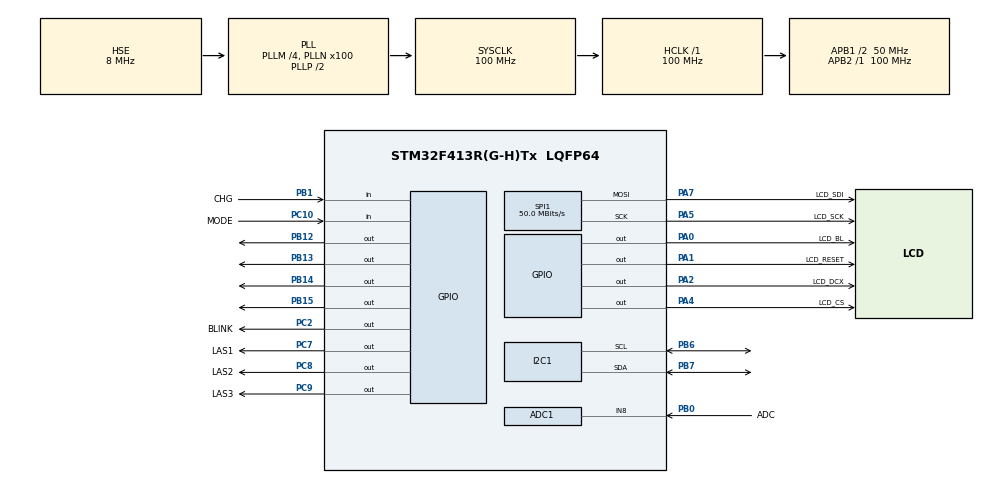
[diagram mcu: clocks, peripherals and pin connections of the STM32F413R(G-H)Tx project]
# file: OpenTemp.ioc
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ADC1.Channel-1\#ChannelRegularConversion=ADC_CHANNEL_8
ADC1.NbrOfConversion=1
ADC1.NbrOfConversionFlag=1
ADC1.Rank-1\#ChannelRegularConversion=1
ADC1.SamplingTime-1\#ChannelRegularConversion=ADC_SAMPLETIME_3CYCLES
ADC1.master=1
Dma.I2C1_RX.2.Direction=DMA_PERIPH_TO_MEMORY
Dma.I2C1_RX.2.FIFOMode=DMA_FIFOMODE_DISABLE
Dma.I2C1_RX.2.Instance=DMA1_Stream0
Dma.I2C1_RX.2.MemDataAlignment=DMA_MDATAALIGN_BYTE
Dma.I2C1_RX.2.MemInc=DMA_MINC_ENABLE
Dma.I2C1_RX.2.Mode=DMA_NORMAL
Dma.I2C1_RX.2.PeriphDataAlignment=DMA_PDATAALIGN_BYTE
Dma.I2C1_RX.2.PeriphInc=DMA_PINC_DISABLE
Dma.I2C1_RX.2.Priority=DMA_PRIORITY_LOW
Dma.I2C1_TX.1.Direction=DMA_MEMORY_TO_PERIPH
Dma.I2C1_TX.1.FIFOMode=DMA_FIFOMODE_DISABLE
Dma.I2C1_TX.1.Instance=DMA1_Stream1
Dma.I2C1_TX.1.MemDataAlignment=DMA_MDATAALIGN_BYTE
Dma.I2C1_TX.1.MemInc=DMA_MINC_ENABLE
Dma.I2C1_TX.1.Mode=DMA_NORMAL
Dma.I2C1_TX.1.PeriphDataAlignment=DMA_PDATAALIGN_BYTE
Dma.I2C1_TX.1.PeriphInc=DMA_PINC_DISABLE
Dma.I2C1_TX.1.Priority=DMA_PRIORITY_LOW
Dma.Request0=SPI1_TX
Dma.Request1=I2C1_TX
Dma.Request2=I2C1_RX
Dma.SPI1_TX.0.Direction=DMA_MEMORY_TO_PERIPH
Dma.SPI1_TX.0.FIFOMode=DMA_FIFOMODE_DISABLE
Dma.SPI1_TX.0.Instance=DMA2_Stream2
Dma.SPI1_TX.0.MemDataAlignment=DMA_MDATAALIGN_HALFWORD
Dma.SPI1_TX.0.MemInc=DMA_MINC_ENABLE
Dma.SPI1_TX.0.Mode=DMA_NORMAL
Dma.SPI1_TX.0.PeriphDataAlignment=DMA_PDATAALIGN_HALFWORD
Dma.SPI1_TX.0.PeriphInc=DMA_PINC_DISABLE
Dma.SPI1_TX.0.Priority=DMA_PRIORITY_MEDIUM
FREERTOS.Tasks01=defaultTask,0,128,StartDefaultTask,Default,NULL,Dynamic,NULL,NULL
FREERTOS.configUSE_NEWLIB_REENTRANT=1
I2C1.I2C_Mode=I2C_Standard
Mcu.Family=STM32F4
Mcu.Name=STM32F413R(G-H)Tx
Mcu.Package=LQFP64
NVIC.DMA1_Stream0_IRQn=true\:5\:0\:false\:false\:true\:true\:false\:true\:true
NVIC.DMA1_Stream1_IRQn=true\:5\:0\:false\:false\:true\:true\:false\:true\:true
NVIC.DMA2_Stream2_IRQn=true\:5\:0\:false\:false\:true\:true\:false\:true\:true
NVIC.PriorityGroup=NVIC_PRIORITYGROUP_4
NVIC.SPI1_IRQn=true\:5\:0\:false\:false\:true\:true\:true\:true\:true
NVIC.TIM5_IRQn=true\:15\:0\:false\:false\:true\:false\:false\:true\:true
NVIC.TimeBase=TIM5_IRQn
NVIC.TimeBaseIP=TIM5
PA0.GPIO_Label=LCD_BL
PA0.PinState=GPIO_PIN_SET
PA0.Signal=GPIO_Output
PA1.GPIO_Label=LCD_RESET
PA1.GPIO_PuPd=GPIO_PULLUP
PA1.PinState=GPIO_PIN_SET
PA1.Signal=GPIO_Output
PA13.Mode=Trace_Asynchronous_SW
PA13.Signal=SYS_JTMS-SWDIO
PA14.Mode=Trace_Asynchronous_SW
PA14.Signal=SYS_JTCK-SWCLK
PA2.GPIO_Label=LCD_DCX
PA2.GPIO_Speed=GPIO_SPEED_FREQ_VERY_HIGH
PA2.PinState=GPIO_PIN_SET
PA2.Signal=GPIO_Output
PA4.GPIO_Label=LCD_CS
PA4.GPIO_Speed=GPIO_SPEED_FREQ_VERY_HIGH
PA4.Signal=GPIO_Output
PA5.GPIO_Label=LCD_SCK
PA5.GPIO_PuPd=GPIO_PULLDOWN
PA5.Mode=TX_Only_Simplex_Unidirect_Master
PA5.Signal=SPI1_SCK
PA6.Signal=SPI1_MISO
PA7.GPIO_Label=LCD_SDI
PA7.GPIO_PuPd=GPIO_PULLDOWN
PA7.Mode=TX_Only_Simplex_Unidirect_Master
PA7.Signal=SPI1_MOSI
PB0.GPIO_Label=ADC
PB0.Signal=ADCx_IN8
PB1.GPIO_Label=CHG
PB1.GPIO_PuPd=GPIO_PULLUP
PB1.Signal=GPIO_Input
PB12.Signal=GPIO_Output
PB13.Signal=GPIO_Output
PB14.Signal=GPIO_Output
PB15.Signal=GPIO_Output
PB3.Mode=Trace_Asynchronous_SW
PB3.Signal=SYS_JTDO-SWO
PB6.Mode=I2C
PB6.Signal=I2C1_SCL
PB7.Mode=I2C
PB7.Signal=I2C1_SDA
PC10.GPIO_Label=MODE
PC10.Signal=GPIO_Input
PC2.GPIO_Label=BLINK
PC2.Signal=GPIO_Output
PC7.GPIO_Label=LAS1
PC7.PinState=GPIO_PIN_RESET
PC7.Signal=GPIO_Output
PC8.GPIO_Label=LAS2
PC8.PinState=GPIO_PIN_RESET
PC8.Signal=GPIO_Output
PC9.GPIO_Label=LAS3
PC9.Signal=GPIO_Output
PH0\ -\ OSC_IN.Mode=HSE-External-Oscillator
PH0\ -\ OSC_IN.Signal=RCC_OSC_IN
PH1\ -\ OSC_OUT.Mode=HSE-External-Oscillator
PH1\ -\ OSC_OUT.Signal=RCC_OSC_OUT
ProjectManager.HeapSize=0x200
ProjectManager.StackSize=0x400
ProjectManager.TargetToolchain=STM32CubeIDE
RCC.AHBFreq_Value=100000000
RCC.APB1CLKDivider=RCC_HCLK_DIV2
RCC.APB1Freq_Value=50000000
RCC.APB1TimFreq_Value=100000000
RCC.APB2Freq_Value=100000000
RCC.APB2TimFreq_Value=100000000
RCC.CortexFreq_Value=100000000
RCC.HCLKFreq_Value=100000000
RCC.HSE_VALUE=8000000
RCC.PLLM=4
RCC.PLLN=100
RCC.PLLQ=3
RCC.PLLSourceVirtual=RCC_PLLSOURCE_HSE
RCC.SYSCLKFreq_VALUE=100000000
RCC.SYSCLKSource=RCC_SYSCLKSOURCE_PLLCLK
RCC.USBFreq_Value=66666666.666666664
RCC.VCOOutputFreq_Value=200000000
SH.ADCx_IN8.0=ADC1_IN8,IN8
SPI1.BaudRatePrescaler=SPI_BAUDRATEPRESCALER_2
SPI1.CalculateBaudRate=50.0 MBits/s
SPI1.DataSize=SPI_DATASIZE_8BIT
SPI1.Direction=SPI_DIRECTION_2LINES
SPI1.Mode=SPI_MODE_MASTER
SPI1.VirtualType=VM_MASTER
VP_FREERTOS_VS_CMSIS_V1.Mode=CMSIS_V1
VP_SYS_VS_tim5.Mode=TIM5
board=custom

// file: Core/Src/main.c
/* USER CODE BEGIN Header */
/**
  ******************************************************************************
  * @file           : main.c
  * @brief          : Main program body
  ******************************************************************************
  * @attention
  *
  * Copyright (c) 2024 STMicroelectronics.
  * All rights reserved.
  *
  * This software is licensed under terms that can be found in the LICENSE file
  * in the root directory of this software component.
  * If no LICENSE file comes with this software, it is provided AS-IS.
  *
  ******************************************************************************
  */
/* USER CODE END Header */
#include "main.h"
#include "cmsis_os.h"

/* USER CODE BEGIN Includes */
#include "lvgl.h"
#include "./src/drivers/display/st7789/lv_st7789.h"
#include "stdio.h"
#include "MLX90640_API.h"
#include "MLX90640_I2C_Driver.h"
#include "Math.h"
#include <string.h>

/* USER CODE END Includes */

/* USER CODE BEGIN PD */
#define LCD_H_RES 170
#define LCD_W_RES 320

#define MLX_H_RES 168
#define MLX_W_RES 224

#define BUS_SPI1_POLL_TIMEOUT 0x1000U

#define TA_SHIFT 8
#define MLX90640_ADDR 0x33 // Default I2C address of MLX90640
#define MLX90640_REFRESH_RATE 0x02 // 0x02 is 2Hz
//#define MLX90640_RESOLUTION_19 0x03 // 19 bit resolution

// For a 10x10 canvas, with 2 bytes per pixel (assuming RGB565 format)
#define MLX_WIDTH 32
#define MLX_HEIGHT 24
#define BYTES_PER_PIXEL 2  // Assuming 16-bit color (RGB565)MAX_TEMP

/* USER CODE END PD */

ADC_HandleTypeDef hadc1;

I2C_HandleTypeDef hi2c1;
DMA_HandleTypeDef hdma_i2c1_tx;
DMA_HandleTypeDef hdma_i2c1_rx;

SPI_HandleTypeDef hspi1;
DMA_HandleTypeDef hdma_spi1_tx;

osThreadId defaultTaskHandle;
/* USER CODE BEGIN PV */
osThreadId LvglTaskHandle;
osThreadId MLXTaskHandle;
osThreadId ADCTaskHandle;

lv_display_t *lcd_disp;
volatile int lcd_bus_busy = 0;

// Buffer to store frame data

float emissivity = 0.95;
float tr;
static uint16_t eeMLX90640[832];
static uint16_t mlx90640Frame[834];
paramsMLX90640 mlx90640;
static float mlx90640To[768];
int status;

float T_max, T_min;

float batteryVoltage;

uint8_t thermal_data_arr[MLX_H_RES * MLX_W_RES * 2];  // For 240x320 with 2 bytes per pixel (RGB565)

// Image descriptor
static lv_img_dsc_t therm_img_dsc = {
    .header.w = MLX_W_RES,   // Updated to 240 (width)
    .header.h = MLX_H_RES,   // Updated to 320 (height)
    .data_size = MLX_H_RES * MLX_W_RES * 2,  // 240 * 320 * 2
    .header.cf = LV_COLOR_FORMAT_NATIVE,    // RGB565 format
    .data = thermal_data_arr,
};
/* USER CODE END PV */

void SystemClock_Config(void);
static void MX_GPIO_Init(void);
static void MX_DMA_Init(void);
static void MX_SPI1_Init(void);
static void MX_I2C1_Init(void);
static void MX_ADC1_Init(void);
void StartDefaultTask(void const * argument);

/* USER CODE BEGIN PFP */
void ui_init(lv_display_t *disp);
void LVGL_Task(void const *argument);
void MLX90640_Task(void const *argument);
void ADC_Task(void const * argument);
/* USER CODE END PFP */

/* USER CODE BEGIN 0 */

int _write(int file, char *ptr, int len) // enable printf() debugging
{
  (void)file;
  int DataIdx;

  for (DataIdx = 0; DataIdx < len; DataIdx++)
  {
    //__io_putchar(*ptr++);
	  ITM_SendChar(*ptr++);
  }
  return len;
}

/* USER CODE END 0 */

int main(void)
{

  /* MCU Configuration--------------------------------------------------------*/

  /* Reset of all peripherals, Initializes the Flash interface and the Systick. */
  HAL_Init();

  /* Configure the system clock */
  SystemClock_Config();

  /* Initialize all configured peripherals */
  MX_GPIO_Init();
  MX_DMA_Init();
  MX_SPI1_Init();
  MX_I2C1_Init();
  MX_ADC1_Init();
  /* USER CODE BEGIN 2 */

  // Turn all lasers on
  HAL_GPIO_WritePin(GPIOC, LAS1_Pin, GPIO_PIN_SET); // ON
  HAL_GPIO_WritePin(GPIOC, LAS2_Pin, GPIO_PIN_SET);
  HAL_GPIO_WritePin(GPIOC, LAS3_Pin, GPIO_PIN_SET);
  //HAL_GPIO_WritePin(GPIOC, LAS1_Pin, GPIO_PIN_RESET); // OFF

  /* USER CODE END 2 */

  /* Create the thread(s) */
  /* definition and creation of defaultTask */
  osThreadDef(defaultTask, StartDefaultTask, osPriorityNormal, 0, 128);
  defaultTaskHandle = osThreadCreate(osThread(defaultTask), NULL);

  /* USER CODE BEGIN RTOS_THREADS */
  osThreadDef(LvglTask, LVGL_Task, osPriorityNormal, 0, 1024);
  LvglTaskHandle = osThreadCreate(osThread(LvglTask), NULL);

  osThreadDef(MLXTask, MLX90640_Task, osPriorityNormal, 0, 2048);
  MLXTaskHandle = osThreadCreate(osThread(MLXTask), NULL);

  osThreadDef(ADCTask, ADC_Task, osPriorityNormal, 0, 256);
  ADCTaskHandle = osThreadCreate(osThread(ADCTask), NULL);
  /* USER CODE END RTOS_THREADS */

  /* Start scheduler */
  osKernelStart();

  /* We should never get here as control is now taken by the scheduler */

  /* Infinite loop */
  while (1)
  {

  }
}

void SystemClock_Config(void)
{
  RCC_OscInitTypeDef RCC_OscInitStruct = {0};
  RCC_ClkInitTypeDef RCC_ClkInitStruct = {0};

  /** Configure the main internal regulator output voltage
  */
  __HAL_RCC_PWR_CLK_ENABLE();
  __HAL_PWR_VOLTAGESCALING_CONFIG(PWR_REGULATOR_VOLTAGE_SCALE1);

  /** Initializes the RCC Oscillators according to the specified parameters
  * in the RCC_OscInitTypeDef structure.
  */
  RCC_OscInitStruct.OscillatorType = RCC_OSCILLATORTYPE_HSE;
  RCC_OscInitStruct.HSEState = RCC_HSE_ON;
  RCC_OscInitStruct.PLL.PLLState = RCC_PLL_ON;
  RCC_OscInitStruct.PLL.PLLSource = RCC_PLLSOURCE_HSE;
  RCC_OscInitStruct.PLL.PLLM = 4;
  RCC_OscInitStruct.PLL.PLLN = 100;
  RCC_OscInitStruct.PLL.PLLP = RCC_PLLP_DIV2;
  RCC_OscInitStruct.PLL.PLLQ = 3;
  RCC_OscInitStruct.PLL.PLLR = 2;
  if (HAL_RCC_OscConfig(&RCC_OscInitStruct) != HAL_OK)
  {
    Error_Handler();
  }

  /** Initializes the CPU, AHB and APB buses clocks
  */
  RCC_ClkInitStruct.ClockType = RCC_CLOCKTYPE_HCLK|RCC_CLOCKTYPE_SYSCLK
                              |RCC_CLOCKTYPE_PCLK1|RCC_CLOCKTYPE_PCLK2;
  RCC_ClkInitStruct.SYSCLKSource = RCC_SYSCLKSOURCE_PLLCLK;
  RCC_ClkInitStruct.AHBCLKDivider = RCC_SYSCLK_DIV1;
  RCC_ClkInitStruct.APB1CLKDivider = RCC_HCLK_DIV2;
  RCC_ClkInitStruct.APB2CLKDivider = RCC_HCLK_DIV1;

  if (HAL_RCC_ClockConfig(&RCC_ClkInitStruct, FLASH_LATENCY_3) != HAL_OK)
  {
    Error_Handler();
  }
}

static void MX_ADC1_Init(void)
{

  ADC_ChannelConfTypeDef sConfig = {0};

  /** Configure the global features of the ADC (Clock, Resolution, Data Alignment and number of conversion)
  */
  hadc1.Instance = ADC1;
  hadc1.Init.ClockPrescaler = ADC_CLOCK_SYNC_PCLK_DIV4;
  hadc1.Init.Resolution = ADC_RESOLUTION_12B;
  hadc1.Init.ScanConvMode = DISABLE;
  hadc1.Init.ContinuousConvMode = DISABLE;
  hadc1.Init.DiscontinuousConvMode = DISABLE;
  hadc1.Init.ExternalTrigConvEdge = ADC_EXTERNALTRIGCONVEDGE_NONE;
  hadc1.Init.ExternalTrigConv = ADC_SOFTWARE_START;
  hadc1.Init.DataAlign = ADC_DATAALIGN_RIGHT;
  hadc1.Init.NbrOfConversion = 1;
  hadc1.Init.DMAContinuousRequests = DISABLE;
  hadc1.Init.EOCSelection = ADC_EOC_SINGLE_CONV;
  if (HAL_ADC_Init(&hadc1) != HAL_OK)
  {
    Error_Handler();
  }

  /** Configure for the selected ADC regular channel its corresponding rank in the sequencer and its sample time.
  */
  sConfig.Channel = ADC_CHANNEL_8;
  sConfig.Rank = 1;
  sConfig.SamplingTime = ADC_SAMPLETIME_3CYCLES;
  if (HAL_ADC_ConfigChannel(&hadc1, &sConfig) != HAL_OK)
  {
    Error_Handler();
  }

}

static void MX_I2C1_Init(void)
{

  hi2c1.Instance = I2C1;
  hi2c1.Init.ClockSpeed = 100000;
  hi2c1.Init.DutyCycle = I2C_DUTYCYCLE_2;
  hi2c1.Init.OwnAddress1 = 0;
  hi2c1.Init.AddressingMode = I2C_ADDRESSINGMODE_7BIT;
  hi2c1.Init.DualAddressMode = I2C_DUALADDRESS_DISABLE;
  hi2c1.Init.OwnAddress2 = 0;
  hi2c1.Init.GeneralCallMode = I2C_GENERALCALL_DISABLE;
  hi2c1.Init.NoStretchMode = I2C_NOSTRETCH_DISABLE;
  if (HAL_I2C_Init(&hi2c1) != HAL_OK)
  {
    Error_Handler();
  }

}

static void MX_SPI1_Init(void)
{

  /* SPI1 parameter configuration*/
  hspi1.Instance = SPI1;
  hspi1.Init.Mode = SPI_MODE_MASTER;
  hspi1.Init.Direction = SPI_DIRECTION_2LINES;
  hspi1.Init.DataSize = SPI_DATASIZE_8BIT;
  hspi1.Init.CLKPolarity = SPI_POLARITY_LOW;
  hspi1.Init.CLKPhase = SPI_PHASE_1EDGE;
  hspi1.Init.NSS = SPI_NSS_SOFT;
  hspi1.Init.BaudRatePrescaler = SPI_BAUDRATEPRESCALER_2;
  hspi1.Init.FirstBit = SPI_FIRSTBIT_MSB;
  hspi1.Init.TIMode = SPI_TIMODE_DISABLE;
  hspi1.Init.CRCCalculation = SPI_CRCCALCULATION_DISABLE;
  hspi1.Init.CRCPolynomial = 10;
  if (HAL_SPI_Init(&hspi1) != HAL_OK)
  {
    Error_Handler();
  }

}

static void MX_DMA_Init(void)
{

  /* DMA controller clock enable */
  __HAL_RCC_DMA2_CLK_ENABLE();
  __HAL_RCC_DMA1_CLK_ENABLE();

  /* DMA interrupt init */
  /* DMA1_Stream0_IRQn interrupt configuration */
  HAL_NVIC_SetPriority(DMA1_Stream0_IRQn, 5, 0);
  HAL_NVIC_EnableIRQ(DMA1_Stream0_IRQn);
  /* DMA1_Stream1_IRQn interrupt configuration */
  HAL_NVIC_SetPriority(DMA1_Stream1_IRQn, 5, 0);
  HAL_NVIC_EnableIRQ(DMA1_Stream1_IRQn);
  /* DMA2_Stream2_IRQn interrupt configuration */
  HAL_NVIC_SetPriority(DMA2_Stream2_IRQn, 5, 0);
  HAL_NVIC_EnableIRQ(DMA2_Stream2_IRQn);

}

static void MX_GPIO_Init(void)
{
  GPIO_InitTypeDef GPIO_InitStruct = {0};

  /* GPIO Ports Clock Enable */
  __HAL_RCC_GPIOH_CLK_ENABLE();
  __HAL_RCC_GPIOC_CLK_ENABLE();
  __HAL_RCC_GPIOA_CLK_ENABLE();
  __HAL_RCC_GPIOB_CLK_ENABLE();

  /*Configure GPIO pin Output Level */
  HAL_GPIO_WritePin(GPIOC, BLINK_Pin|LAS1_Pin|LAS2_Pin|LAS3_Pin, GPIO_PIN_RESET);

  /*Configure GPIO pin Output Level */
  HAL_GPIO_WritePin(GPIOA, LCD_BL_Pin|LCD_RESET_Pin|LCD_DCX_Pin, GPIO_PIN_SET);

  /*Configure GPIO pin Output Level */
  HAL_GPIO_WritePin(LCD_CS_GPIO_Port, LCD_CS_Pin, GPIO_PIN_RESET);

  /*Configure GPIO pin Output Level */
  HAL_GPIO_WritePin(GPIOB, GPIO_PIN_12|GPIO_PIN_13|GPIO_PIN_14|GPIO_PIN_15, GPIO_PIN_RESET);

  /*Configure GPIO pins : BLINK_Pin LAS1_Pin LAS2_Pin LAS3_Pin */
  GPIO_InitStruct.Pin = BLINK_Pin|LAS1_Pin|LAS2_Pin|LAS3_Pin;
  GPIO_InitStruct.Mode = GPIO_MODE_OUTPUT_PP;
  GPIO_InitStruct.Pull = GPIO_NOPULL;
  GPIO_InitStruct.Speed = GPIO_SPEED_FREQ_LOW;
  HAL_GPIO_Init(GPIOC, &GPIO_InitStruct);

  /*Configure GPIO pin : LCD_BL_Pin */
  GPIO_InitStruct.Pin = LCD_BL_Pin;
  GPIO_InitStruct.Mode = GPIO_MODE_OUTPUT_PP;
  GPIO_InitStruct.Pull = GPIO_NOPULL;
  GPIO_InitStruct.Speed = GPIO_SPEED_FREQ_LOW;
  HAL_GPIO_Init(LCD_BL_GPIO_Port, &GPIO_InitStruct);

  /*Configure GPIO pin : LCD_RESET_Pin */
  GPIO_InitStruct.Pin = LCD_RESET_Pin;
  GPIO_InitStruct.Mode = GPIO_MODE_OUTPUT_PP;
  GPIO_InitStruct.Pull = GPIO_PULLUP;
  GPIO_InitStruct.Speed = GPIO_SPEED_FREQ_LOW;
  HAL_GPIO_Init(LCD_RESET_GPIO_Port, &GPIO_InitStruct);

  /*Configure GPIO pins : LCD_DCX_Pin LCD_CS_Pin */
  GPIO_InitStruct.Pin = LCD_DCX_Pin|LCD_CS_Pin;
  GPIO_InitStruct.Mode = GPIO_MODE_OUTPUT_PP;
  GPIO_InitStruct.Pull = GPIO_NOPULL;
  GPIO_InitStruct.Speed = GPIO_SPEED_FREQ_VERY_HIGH;
  HAL_GPIO_Init(GPIOA, &GPIO_InitStruct);

  /*Configure GPIO pin : CHG_Pin */
  GPIO_InitStruct.Pin = CHG_Pin;
  GPIO_InitStruct.Mode = GPIO_MODE_INPUT;
  GPIO_InitStruct.Pull = GPIO_PULLUP;
  HAL_GPIO_Init(CHG_GPIO_Port, &GPIO_InitStruct);

  /*Configure GPIO pins : PB12 PB13 PB14 PB15 */
  GPIO_InitStruct.Pin = GPIO_PIN_12|GPIO_PIN_13|GPIO_PIN_14|GPIO_PIN_15;
  GPIO_InitStruct.Mode = GPIO_MODE_OUTPUT_PP;
  GPIO_InitStruct.Pull = GPIO_NOPULL;
  GPIO_InitStruct.Speed = GPIO_SPEED_FREQ_LOW;
  HAL_GPIO_Init(GPIOB, &GPIO_InitStruct);

  /*Configure GPIO pin : MODE_Pin */
  GPIO_InitStruct.Pin = MODE_Pin;
  GPIO_InitStruct.Mode = GPIO_MODE_INPUT;
  GPIO_InitStruct.Pull = GPIO_NOPULL;
  HAL_GPIO_Init(MODE_GPIO_Port, &GPIO_InitStruct);

}

/* USER CODE BEGIN 4 */

void lcd_color_transfer_ready_cb(SPI_HandleTypeDef *hspi)
{
	/* CS high */
	HAL_GPIO_WritePin(LCD_CS_GPIO_Port, LCD_CS_Pin, GPIO_PIN_SET);
	lcd_bus_busy = 0;
	lv_display_flush_ready(lcd_disp);
}

/* Initialize LCD I/O bus, reset LCD */
static int32_t lcd_io_init(void)
{
	/* Register SPI Tx Complete Callback */
	HAL_SPI_RegisterCallback(&hspi1, HAL_SPI_TX_COMPLETE_CB_ID, lcd_color_transfer_ready_cb);

	/* reset LCD */
	HAL_GPIO_WritePin(LCD_RESET_GPIO_Port, LCD_RESET_Pin, GPIO_PIN_RESET);
	osDelay(10);
	HAL_GPIO_WritePin(LCD_RESET_GPIO_Port, LCD_RESET_Pin, GPIO_PIN_SET);
	osDelay(10);

	HAL_GPIO_WritePin(LCD_CS_GPIO_Port, LCD_CS_Pin, GPIO_PIN_SET);
	HAL_GPIO_WritePin(LCD_DCX_GPIO_Port, LCD_DCX_Pin, GPIO_PIN_SET);

	return HAL_OK;
}

/* Platform-specific implementation of the LCD send command function. In general this should use polling transfer. */
static void lcd_send_cmd(lv_display_t *disp, const uint8_t *cmd, size_t cmd_size, const uint8_t *param, size_t param_size)
{
	LV_UNUSED(disp);
	while (lcd_bus_busy);   /* wait until previous transfer is finished */
	/* Set the SPI in 8-bit mode */
	hspi1.Init.DataSize = SPI_DATASIZE_8BIT;
	HAL_SPI_Init(&hspi1);
	/* DCX low (command) */
	HAL_GPIO_WritePin(LCD_DCX_GPIO_Port, LCD_DCX_Pin, GPIO_PIN_RESET);
	/* CS low */
	HAL_GPIO_WritePin(LCD_CS_GPIO_Port, LCD_CS_Pin, GPIO_PIN_RESET);
	/* send command */
	if (HAL_SPI_Transmit(&hspi1, cmd, cmd_size, BUS_SPI1_POLL_TIMEOUT) == HAL_OK) {
		/* DCX high (data) */
		HAL_GPIO_WritePin(LCD_DCX_GPIO_Port, LCD_DCX_Pin, GPIO_PIN_SET);
		/* for short data blocks we use polling transfer */
		HAL_SPI_Transmit(&hspi1, (uint8_t *)param, (uint16_t)param_size, BUS_SPI1_POLL_TIMEOUT);
		/* CS high */
		HAL_GPIO_WritePin(LCD_CS_GPIO_Port, LCD_CS_Pin, GPIO_PIN_SET);
	}
}

/* Platform-specific implementation of the LCD send color function. For better performance this should use DMA transfer.
 * In case of a DMA transfer a callback must be installed to notify LVGL about the end of the transfer.
 */
static void lcd_send_color(lv_display_t *disp, const uint8_t *cmd, size_t cmd_size, uint8_t *param, size_t param_size)
{
	LV_UNUSED(disp);
	while (lcd_bus_busy);   /* wait until previous transfer is finished */
	/* Set the SPI in 8-bit mode */
	hspi1.Init.DataSize = SPI_DATASIZE_8BIT;
	HAL_SPI_Init(&hspi1);
	/* DCX low (command) */
	HAL_GPIO_WritePin(LCD_DCX_GPIO_Port, LCD_DCX_Pin, GPIO_PIN_RESET);
	/* CS low */
	HAL_GPIO_WritePin(LCD_CS_GPIO_Port, LCD_CS_Pin, GPIO_PIN_RESET);
	/* send command */
	if (HAL_SPI_Transmit(&hspi1, cmd, cmd_size, BUS_SPI1_POLL_TIMEOUT) == HAL_OK) {
		/* DCX high (data) */
		HAL_GPIO_WritePin(LCD_DCX_GPIO_Port, LCD_DCX_Pin, GPIO_PIN_SET);
		/* for color data use DMA transfer */
		/* Set the SPI in 16-bit mode to match endianness */
		hspi1.Init.DataSize = SPI_DATASIZE_16BIT;
		HAL_SPI_Init(&hspi1);
		lcd_bus_busy = 1;
		HAL_SPI_Transmit_DMA(&hspi1, param, (uint16_t)param_size / 2);
		/* NOTE: CS will be reset in the transfer ready callback */
	}
}

/*
long map(long x, long in_min, long in_max, long out_min, long out_max) {
    return (x - in_min) * (out_max - out_min) / (in_max - in_min) + out_min;
}

// LOWER RES & 11% SLOWER
void getColor(float thermal_data, uint8_t *R, uint8_t *G, uint8_t *B, float T_min, float T_max)
{
	T_max -= 1.2;
    if(thermal_data > T_max) // Tier 1 Red
    {
        *R = map(thermal_data, T_min, T_max, 0, 255);
        *G = 0;
        *B = 0;
    }
    else if(thermal_data < T_max && thermal_data > (T_max - 1.75)) // Tier 2 Yellow
    {
        *R = map(thermal_data, T_min, T_max, 0, 255);
        *G = map(thermal_data, T_min, T_max, 0, 255);
        *B = 0;
    }
    else if(thermal_data < (T_max - 1.75) && thermal_data > (T_max - 4)) // Tier 3 Green
    {
        *R = 0;
        *G = map(thermal_data, T_min, T_max, 0, 255);;
        *B = 0;
    }
    else // Tier 4 Blue
    {
        *R = 0;
        *G = 0;
        *B = map(thermal_data, T_min, T_max, 0, 255);
    }
}*/

// HIGH RES
void getColor(float thermal_data, uint8_t *R, uint8_t *G, uint8_t *B, float T_min, float T_max)
{
	T_max -= 1;
    float range_max = 255.0 / (T_max - T_min);  // Precalculate scaling factor for range mapping

    if(thermal_data > T_max)  // Red
    {
        *R = 255;
        *G = 0;
        *B = 0;
    }
    else if(thermal_data > (T_max - 1.75))  // Yellow
    {
        *R = (thermal_data - T_min) * range_max;
        *G = (thermal_data - T_min) * range_max;
        *B = 0;
    }
    else if(thermal_data > (T_max - 4))  // Green
    {
        *R = 0;
        *G = (thermal_data - T_min) * range_max;
        *B = 0;
    }
    else  // Blue
    {
        *R = 0;
        *G = 0;
        *B = (thermal_data - T_min) * range_max;
    }
}

void get_rgb565_color(uint8_t R, uint8_t G, uint8_t B, uint8_t *high_byte, uint8_t *low_byte) {
    // Scale 8-bit RGB values to RGB565 (5-bit red, 6-bit green, 5-bit blue)
    uint16_t color = (R >> 3) << 11 | (G >> 2) << 5 | (B >> 3);

    // Extract high and low bytes
    *high_byte = (color >> 8) & 0xFF;  // High byte (first 8 bits)
    *low_byte = color & 0xFF;          // Low byte (last 8 bits)
}

void update_image_data_scaled_bilinear(float *thermal_data, int src_width, int src_height, int dst_width, int dst_height) {
    int dst_index = 0;
    uint8_t R, G, B, high_byte, low_byte;

    float x_ratio = ((float)(src_width - 1)) / dst_width;
    float y_ratio = ((float)(src_height - 1)) / dst_height;

    for (int y = 0; y < dst_height; y++)
    {
        float src_y = y * y_ratio;
        int y_low = (int)src_y;
        int y_high = y_low + 1;
        float y_lerp = src_y - y_low;

        if (y_high >= src_height)
            y_high = src_height - 1;

        for (int x = 0; x < dst_width; x++)
        {
            float src_x = x * x_ratio;
            int x_low = (int)src_x;
            int x_high = x_low + 1;
            float x_lerp = src_x - x_low;

            if (x_high >= src_width)
                x_high = src_width - 1;

            // Get temperatures at the four surrounding pixels
            float temp_ll = thermal_data[y_low * src_width + x_low];
            float temp_lh = thermal_data[y_low * src_width + x_high];
            float temp_hl = thermal_data[y_high * src_width + x_low];
            float temp_hh = thermal_data[y_high * src_width + x_high];

            // Interpolate temperature values
            float temp_low = temp_ll + (temp_lh - temp_ll) * x_lerp;
            float temp_high = temp_hl + (temp_hh - temp_hl) * x_lerp;
            float temp_value = temp_low + (temp_high - temp_low) * y_lerp;

            // Map temperature to RGB values
            getColor(temp_value, &R, &G, &B, T_min, T_max);

            // Convert RGB to RGB565 and store in the image data array
            get_rgb565_color(B, R, G, &high_byte, &low_byte);
            thermal_data_arr[dst_index++] = high_byte;  // High byte
            thermal_data_arr[dst_index++] = low_byte;   // Low byte
        }
    }
}

void LVGL_Task(void const *argument)
{
    /* Initialize LVGL */
    lv_init();

    /* Initialize LCD I/O */
    if (lcd_io_init() != 0)
        return;

    /* Create the LVGL display object and the LCD display driver */
    lcd_disp = lv_st7789_create(LCD_H_RES, LCD_W_RES, LV_LCD_FLAG_NONE, lcd_send_cmd, lcd_send_color);
    lv_display_set_rotation(lcd_disp, LV_DISPLAY_ROTATION_270);

    /* Allocate draw buffers on the heap. In this example we use two partial buffers of 1/10th size of the screen */
    lv_color_t *buf1 = NULL;
    lv_color_t *buf2 = NULL;

    uint32_t buf_size = LCD_W_RES * LCD_H_RES / 10 * lv_color_format_get_size(lv_display_get_color_format(lcd_disp));

    buf1 = lv_malloc(buf_size);
    if (buf1 == NULL) {
        LV_LOG_ERROR("display draw buffer malloc failed");
        return;
    }

    buf2 = lv_malloc(buf_size);
    if (buf2 == NULL) {
        LV_LOG_ERROR("display buffer malloc failed");
        lv_free(buf1);
        return;
    }
    lv_display_set_buffers(lcd_disp, buf1, buf2, buf_size, LV_DISPLAY_RENDER_MODE_PARTIAL);

	// set background
	lv_obj_t *scr = lv_screen_active(); // Get the active screen object
	lv_obj_set_pos(scr, -1, 0);
	lv_obj_set_style_bg_color(scr, lv_color_hex(0x000000), 0);
	lv_obj_set_style_bg_opa(scr, LV_OPA_100, 0); // Set the background opacity to 100% (fully opaque)

	/*// Create an image object and set the image source
	lv_obj_t *img1 = lv_img_create(lv_scr_act());
	lv_img_set_src(img1, &gatewayimgtest);
	lv_obj_align(img1, LV_ALIGN_CENTER, 0, 0); // Center the image
	//lv_image_set_scale(img1, 512); // 512 is double size
	//lv_image_set_rotation(img1, 1800); // 45.0 degrees clockwise[*/

    char buffer[16];  // Buffer to store center temp
    lv_obj_t *label1 = lv_label_create(lv_scr_act()); // Create a new label object
    lv_obj_align(label1, LV_ALIGN_LEFT_MID, 10, -65);  //
    lv_obj_set_style_text_font(label1, &lv_font_montserrat_20, 0);  // Change font size
    lv_obj_set_style_text_color(label1, lv_color_hex(0xFFFFFF), 0); // Set text color (hex value)

    char buffer2[16];  // Buffer to store battery voltage
    lv_obj_t *label2 = lv_label_create(lv_scr_act()); // Create a new label object
    lv_obj_align(label2, LV_ALIGN_LEFT_MID, 10, -48);  //
    lv_obj_set_style_text_font(label2, &lv_font_montserrat_16, 0);  // Change font size
    lv_obj_set_style_text_color(label2, lv_color_hex(0xFFFFFF), 0); // Set text color (hex value)

    char buffer3[16];  // Buffer for max temp in deg. C
    lv_obj_t *label3 = lv_label_create(lv_scr_act()); // Create a new label object
    lv_obj_align(label3, LV_ALIGN_LEFT_MID, 10, 5);  //
    lv_obj_set_style_text_font(label3, &lv_font_montserrat_16, 0);  // Change font size
    lv_obj_set_style_text_color(label3, lv_color_hex(0xFFFFFF), 0); // Set text color (hex value)

    char buffer5[16]; // Stores "Max"
    lv_obj_t *label5 = lv_label_create(lv_scr_act()); // Create a new label object
    lv_obj_align(label5, LV_ALIGN_LEFT_MID, 10, -10);  //
    lv_obj_set_style_text_font(label5, &lv_font_montserrat_16, 0);  // Change font size
    lv_obj_set_style_text_color(label5, lv_color_hex(0xFFFFFF), 0); // Set text color (hex value)

    char buffer4[16];  // Buffer to store min temp in deg. C
    lv_obj_t *label4 = lv_label_create(lv_scr_act()); // Create a new label object
    lv_obj_align(label4, LV_ALIGN_LEFT_MID, 10, 50);
    lv_obj_set_style_text_font(label4, &lv_font_montserrat_16, 0);  // Change font size
    lv_obj_set_style_text_color(label4, lv_color_hex(0xFFFFFF), 0); // Set text color (hex value)

    char buffer6[16]; // Stores "Min"
    lv_obj_t *label6 = lv_label_create(lv_scr_act()); // Create a new label object
    lv_obj_align(label6, LV_ALIGN_LEFT_MID, 10, 35);  //
    lv_obj_set_style_text_font(label6, &lv_font_montserrat_16, 0);  // Change font size
    lv_obj_set_style_text_color(label6, lv_color_hex(0xFFFFFF), 0); // Set text color (hex value)

    char buffer7[16]; // Stores max in deg. F
    lv_obj_t *label7 = lv_label_create(lv_scr_act()); // Create a new label object
    lv_obj_align(label7, LV_ALIGN_LEFT_MID, 10, 20);  //
    lv_obj_set_style_text_font(label7, &lv_font_montserrat_16, 0);  // Change font size
    lv_obj_set_style_text_color(label7, lv_color_hex(0xFFFFFF), 0); // Set text color (hex value)

    char buffer8[16]; // Stores min in deg. F
    lv_obj_t *label8 = lv_label_create(lv_scr_act()); // Create a new label object
    lv_obj_align(label8, LV_ALIGN_LEFT_MID, 10, 65);  //
    lv_obj_set_style_text_font(label8, &lv_font_montserrat_16, 0);  // Change font size
    lv_obj_set_style_text_color(label8, lv_color_hex(0xFFFFFF), 0); // Set text color (hex value)

    // Create the image object once outside the loop
    lv_obj_t *img = lv_img_create(lv_scr_act()); // Create image object
    lv_img_set_src(img, &therm_img_dsc);  // Set the initial image data source
    lv_img_set_angle(img, 1800);        // Rotate 180 degrees (1800 tenths of a degree)
    lv_obj_align(img, LV_ALIGN_RIGHT_MID, 0, 0);  // Align image in the center

    for(;;)
    {

        sprintf(buffer2, "%.2f V", batteryVoltage);  // Convert temperature to string

        // Update the label with the new temperature string
        lv_label_set_text(label2, buffer2);

    	if (HAL_GPIO_ReadPin(MODE_GPIO_Port, MODE_Pin) == GPIO_PIN_RESET)
    	{
            T_min = 999.0f;
            T_max = -999.0f;

            for (int i = 0; i < 768; i++)
            {
                if (mlx90640To[i] > T_max)
                {
                    T_max = mlx90640To[i];  // Update T_max if a higher temperature is found
                }
                if (mlx90640To[i] < T_min)
                {
                    T_min = mlx90640To[i];  // Update T_min if a lower temperature is found
                }
            }
            // Update image data from the thermal sensor
        	update_image_data_scaled_bilinear(mlx90640To, MLX_WIDTH, MLX_HEIGHT, MLX_W_RES, MLX_H_RES);

            // Refresh the image object with the updated data
            lv_img_set_src(img, &therm_img_dsc);  // Update the image data source

            sprintf(buffer5, "T_Max:");  // Convert temperature to string
            sprintf(buffer3, "%.2f C", T_max);  // Convert temperature to string
            sprintf(buffer7, "%.2f F", ((T_max * 1.8) + 32));  // Convert temperature to string
            sprintf(buffer6, "T_Min:");
            sprintf(buffer4, "%.2f C", T_min);  // Convert temperature to string
            sprintf(buffer8, "%.2f F", ((T_min * 1.8) + 32));  // Convert temperature to string

            // Update the label with the new temperature string
            lv_label_set_text(label3, buffer3);
            lv_label_set_text(label4, buffer4);
            lv_label_set_text(label5, buffer5);
            lv_label_set_text(label6, buffer6);
            lv_label_set_text(label7, buffer7);
            lv_label_set_text(label8, buffer8);

    		// 4 middle pixels are 368, 369, 400, 401
    		float center_temp = (mlx90640To[368] + mlx90640To[369] + mlx90640To[400] + mlx90640To[401]) / 4;
            sprintf(buffer, "%.2f C", center_temp);  // Convert temperature to string

            // Update the label with the new temperature string
            lv_label_set_text(label1, buffer);
    	}
    	// else {freeze the screen}

        // Handle LVGL
        lv_timer_handler();
        osDelay(20);
    }
}

void MLX90640_Task(void const *argument)
{

    //osDelay(100);

    printf("Starting IR Cam...\n");
    //MLX90640_I2CInit(); I2C already enabled

    status = MLX90640_SetRefreshRate(MLX90640_ADDR, MLX90640_REFRESH_RATE);
    if (status != 0) {
    	printf("Failed to set refresh rate, status: %d", status);
    }

    //status = MLX90640_SetResolution(MLX90640_ADDR, MLX90640_RESOLUTION_19);
    //if (status != 0) {
    //	printf("Failed to set resolution, status: %d", status);
    //}

    //status = MLX90640_SetChessMode(MLX90640_ADDR);
    //if (status != 0) {
    //	printf("Failed to set chess mode, status: %d", status);
    //}

    status = MLX90640_DumpEE(MLX90640_ADDR, eeMLX90640);
    if (status != 0) {
        printf("Failed to dump EEPROM data, status: %d", status);
    }

    status = MLX90640_ExtractParameters(eeMLX90640, &mlx90640);
    if (status != 0) {
    	printf("Failed to extract parameters, status: %d", status);
    }

    while(1)
    {
        // Default mode is chess mode, only every second pixel will be updated
        // 2 subframes needed for full image update
        // Default sampling on sensor is 2Hz.

        status = MLX90640_GetFrameData(MLX90640_ADDR, mlx90640Frame);
        if (status < 0) {
        	printf("Failed to get frame data, status: %d", status);
            continue; // back to start of loop
        }

        tr = MLX90640_GetTa(mlx90640Frame, &mlx90640) - TA_SHIFT;
        MLX90640_CalculateTo(mlx90640Frame, &mlx90640, emissivity, tr, mlx90640To);
        MLX90640_BadPixelsCorrection((&mlx90640)->brokenPixels, mlx90640To, 1, &mlx90640);
        MLX90640_BadPixelsCorrection((&mlx90640)->outlierPixels, mlx90640To, 1, &mlx90640);

        //printf("%.2f C\n", mlx90640To[500]);  // Convert temperature to string

        osDelay(50);
    }
}

void ADC_Task(void const *argument)
{
	//printf("Starting ADC Task...\n");

	for (;;)
	{
    	uint32_t adcValue;

    	// Start ADC conversion
    	HAL_ADC_Start(&hadc1);
    	if (HAL_ADC_PollForConversion(&hadc1, 1000) == HAL_OK)
    	{
    	    adcValue = HAL_ADC_GetValue(&hadc1);
    	}

    	// Assuming R1 = 10kΩ and R2 = 15kΩ
    	float V_ref = 3.3;  // Reference voltage
    	float R1 = 2000.0;  // Resistor 1 (ohms)
    	float R2 = 5000.0;  // Resistor 2 (ohms)

    	// Calculate battery voltage
    	batteryVoltage = ((float)adcValue / 4095) * V_ref * ((R1 + R2) / R2);
		osDelay(500);
	}
}

/* USER CODE END 4 */

void StartDefaultTask(void const * argument)
{
  /* USER CODE BEGIN 5 */
  /* Infinite loop */
  for(;;)
  {
	  HAL_GPIO_TogglePin(GPIOC, BLINK_Pin); // Toggle the LED
	  //printf("Blinking\n");
	  osDelay(250); // Delay in milliseconds
  }
  /* USER CODE END 5 */
}

void HAL_TIM_PeriodElapsedCallback(TIM_HandleTypeDef *htim)
{
  if (htim->Instance == TIM5) {
    HAL_IncTick();
  }
}

void Error_Handler(void)
{
  __disable_irq();
  while (1)
  {
  }
}

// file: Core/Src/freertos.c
/* USER CODE BEGIN Header */
/**
  ******************************************************************************
  * File Name          : freertos.c
  * Description        : Code for freertos applications
  ******************************************************************************
  * @attention
  *
  * Copyright (c) 2024 STMicroelectronics.
  * All rights reserved.
  *
  * This software is licensed under terms that can be found in the LICENSE file
  * in the root directory of this software component.
  * If no LICENSE file comes with this software, it is provided AS-IS.
  *
  ******************************************************************************
  */
/* USER CODE END Header */

#include "FreeRTOS.h"
#include "task.h"
#include "main.h"

/* GetIdleTaskMemory prototype (linked to static allocation support) */
void vApplicationGetIdleTaskMemory( StaticTask_t **ppxIdleTaskTCBBuffer, StackType_t **ppxIdleTaskStackBuffer, uint32_t *pulIdleTaskStackSize );

/* USER CODE BEGIN GET_IDLE_TASK_MEMORY */
static StaticTask_t xIdleTaskTCBBuffer;
static StackType_t xIdleStack[configMINIMAL_STACK_SIZE];

void vApplicationGetIdleTaskMemory( StaticTask_t **ppxIdleTaskTCBBuffer, StackType_t **ppxIdleTaskStackBuffer, uint32_t *pulIdleTaskStackSize )
{
  *ppxIdleTaskTCBBuffer = &xIdleTaskTCBBuffer;
  *ppxIdleTaskStackBuffer = &xIdleStack[0];
  *pulIdleTaskStackSize = configMINIMAL_STACK_SIZE;
  /* place for user code */
}
/* USER CODE END GET_IDLE_TASK_MEMORY */
